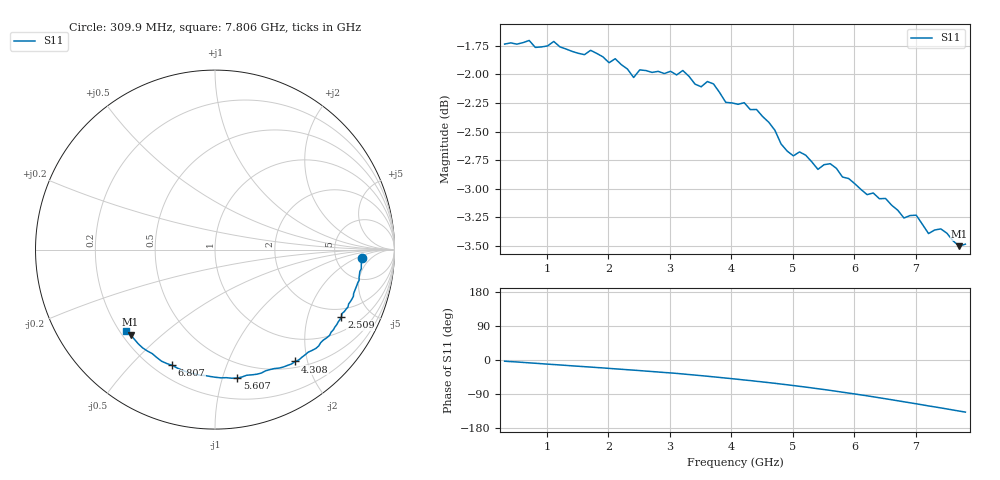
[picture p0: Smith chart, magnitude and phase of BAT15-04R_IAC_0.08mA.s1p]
! Infineon Technologies  Discrete & RF Semiconductors
! BAT15-04R
! IAC = 0.08 mA
! One-Port S-Parameters
# Hz  S  MA  R  50
!f  S11
!Hz  Mag  Ang
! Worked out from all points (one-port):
!   76 points, 309.9 MHz to 7.806 GHz, reference 50 ohm
!   lowest |S11| = -3.5 dB at 7.706 GHz (marker M1), VSWR 5.03, Z = 11.6 - j19.9 ohm
!   |S11| at or under -10 dB: nowhere
!   S11 on the Smith chart (normalised r, x): 309.9 MHz: 9.34, -2.56; 2.509 GHz: 1.60, -3.29; 4.308 GHz: 0.59, -1.80; 5.607 GHz: 0.37, -1.12; 6.807 GHz: 0.27, -0.66; 7.806 GHz: 0.23, -0.37
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3.0985e8  0.819 -3.2
7.0965e8  0.8219 -7.5
8.096e8  0.8162 -8.6
1.10945e9  0.8211 -12.0
1.30935e9  0.8149 -14.3
1.70915e9  0.8138 -18.7
2.2089e9  0.8022 -24.5
2.4088e9  0.7919 -26.8
2.50875e9  0.798 -28.0
3.2084e9  0.7975 -36.8
3.70815e9  0.7868 -44.4
3.90805e9  0.7723 -47.7
4.10795e9  0.7708 -51.0
4.30785e9  0.7667 -54.3
4.6077e9  0.757 -59.7
5.0075e9  0.7318 -67.4
5.10745e9  0.7347 -69.5
5.4073e9  0.7219 -75.9
5.6072e9  0.726 -80.2
6.007e9  0.7116 -89.6
6.50675e9  0.7011 -102.3
6.8066e9  0.6874 -110.3
6.90655e9  0.6892 -112.9
7.0065e9  0.6894 -115.6
7.2064e9  0.6768 -121.2
7.4063e9  0.6799 -126.4
7.70615e9  0.6682 -134.8
7.8061e9  0.6696 -137.5
